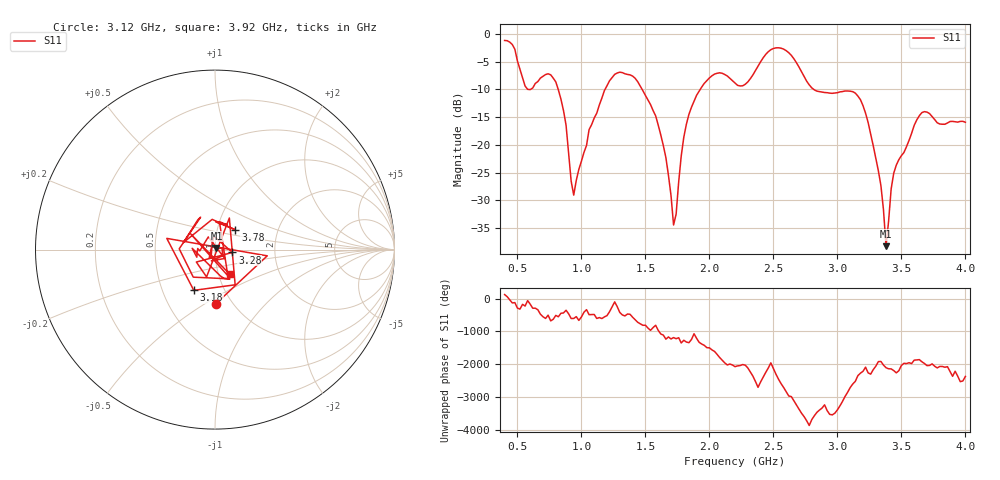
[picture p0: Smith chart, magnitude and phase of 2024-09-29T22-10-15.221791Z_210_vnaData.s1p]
!Created with skrf (http://scikit-rf.org).
# Hz S RI R 50.0
!freq ReS11 ImS11
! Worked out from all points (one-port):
!   181 points, 400 MHz to 4 GHz, reference 50 ohm
!   lowest |S11| = -38.3 dB at 3.38 GHz (marker M1), VSWR 1.02, Z = 50.8 + j0.946 ohm
!   |S11| at or under -10 dB: 819 MHz to 1.184 GHz (365.2 MHz wide, 36.5 % of centre); 1.475 GHz to 1.928 GHz (453.1 MHz wide, 26.6 % of centre); 2.816 GHz to end of sweep (the widest 3 of 4)
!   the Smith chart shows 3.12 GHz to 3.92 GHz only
!   S11 on the Smith chart (normalised r, x): 3.12 GHz: 0.84, -0.56; 3.18 GHz: 0.72, -0.35; 3.28 GHz: 1.21, -0.04; 3.78 GHz: 1.22, +0.28; 3.92 GHz: 1.13, -0.32
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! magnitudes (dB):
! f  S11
! 400 MHz  -1.2
! 580 MHz  -10.0
! 760 MHz  -7.4
! 860 MHz  -13.8
! 940 MHz  -29.1
! 1.06 GHz  -17.2
! 1.3 GHz  -6.9
! 1.58 GHz  -14.8
! 1.66 GHz  -22.3
! 1.72 GHz  -34.5
! 1.76 GHz  -26.7
! 1.82 GHz  -16.3
! 1.9 GHz  -11.0
! 2.2 GHz  -8.8
! 2.66 GHz  -4.5
! 2.82 GHz  -10.1
! 3.1 GHz  -10.3
! 3.12 GHz  -10.4
! 3.18 GHz  -11.8
! 3.28 GHz  -20.2
! 3.34 GHz  -27.4
! 3.38 GHz  -38.3
! 3.44 GHz  -25.1
! 3.56 GHz  -19.2
! 3.66 GHz  -14.2
! 3.78 GHz  -16.0
! 3.92 GHz  -15.8
! 4 GHz  -15.9
